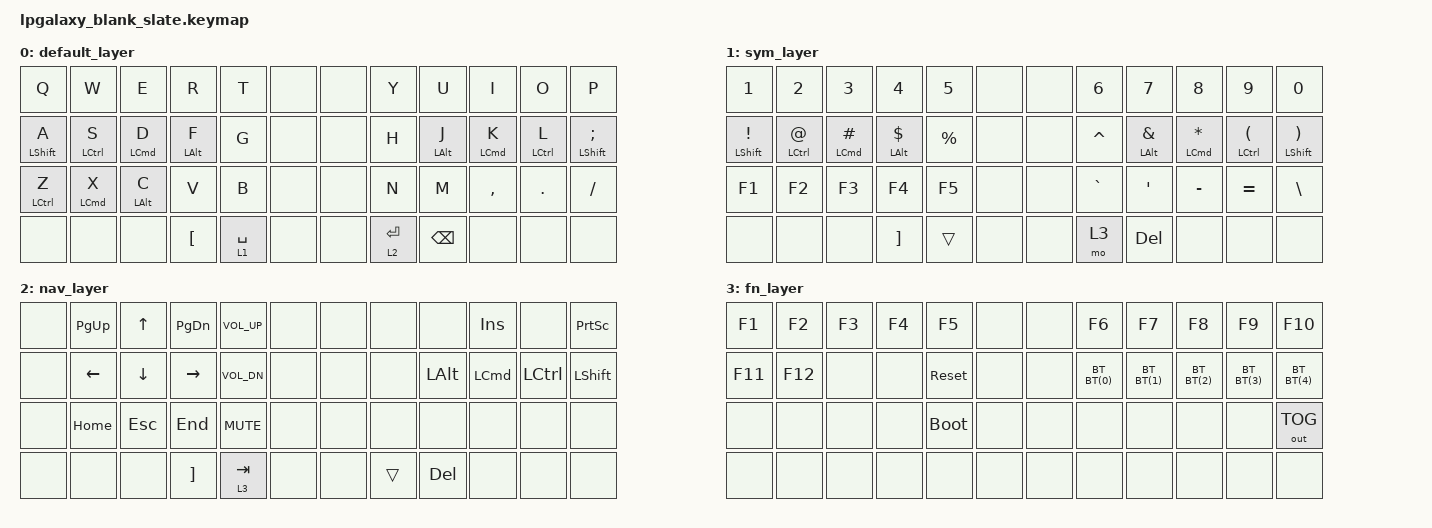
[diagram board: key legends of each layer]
#include <behaviors.dtsi>
#include <dt-bindings/zmk/keys.h>
#include <dt-bindings/zmk/bt.h>
#include <dt-bindings/zmk/outputs.h>

&mt {
    flavor = "balanced";
    tapping-term-ms = <200>;
};

&lt {
    flavor = "balanced";
    tapping-term-ms = <200>;
};

#define BT(n) BT_SEL n

/ {
    chosen {
       zmk,physical-layout = &layout_ortho_4x12_all1u;
    };

    keymap {
        compatible = "zmk,keymap";

        default_layer {
            bindings = <
                      &kp Q          &kp W        &kp E         &kp R         &kp T       &none &none  &kp Y        &kp U         &kp I         &kp O          &kp P   
                      &mt LSHFT A    &mt LCTRL S  &mt LCMD D    &mt LALT F    &kp G       &none &none  &kp H        &mt LALT J    &mt LCMD K    &mt LCTRL L    &mt LSHFT SEMI
                      &mt LCTRL Z    &mt LCMD X   &mt LALT C    &kp V         &kp B       &none &none  &kp N        &kp M         &kp COMMA     &kp DOT        &kp FSLH
                      &none          &none        &none         &kp LBKT      &lt 1 SPACE &none &none  &lt 2 ENTER  &kp BSPC      &none         &none          &none
            >;
        };

        sym_layer {
            bindings = <
                      &kp N1         &kp N2       &kp N3        &kp N4        &kp N5      &none &none  &kp N6       &kp N7        &kp N8        &kp N9         &kp N0   
                      &mt LSHFT EXCL &mt LCTRL AT &mt LCMD HASH &mt LALT DLLR &kp PRCNT   &none &none  &kp CARET    &mt LALT AMPS &mt LCMD STAR &mt LCTRL LPAR &mt LSHFT RPAR
                      &kp F1         &kp F2       &kp F3        &kp F4        &kp F5      &none &none  &kp GRAVE    &kp APOS      &kp MINUS     &kp EQUAL      &kp BSLH
                      &none          &none        &none         &kp RBKT      &trans      &none &none  &mo 3        &kp DEL       &none         &none          &none
            >;
        };

        nav_layer {
            bindings = <
                      &none          &kp PG_UP    &kp UP        &kp PG_DN     &kp C_VOL_UP &none &none &none        &none         &kp INS       &none          &kp PSCRN
                      &none          &kp LEFT     &kp DOWN      &kp RIGHT     &kp C_VOL_DN &none &none &none        &kp LALT      &kp LCMD      &kp LCTRL      &kp LSHFT
                      &none          &kp HOME     &kp ESC       &kp END       &kp C_MUTE   &none &none &none        &none         &none         &none          &none
                      &none          &none        &none         &kp RBKT      &lt 3 TAB    &none &none &trans       &kp DEL       &none         &none          &none
            >;
        };

        fn_layer {
            bindings = <
                      &kp F1         &kp F2       &kp F3        &kp F4        &kp F5       &none &none &kp F6       &kp F7        &kp F8        &kp F9         &kp F10
                      &kp F11        &kp F12      &none         &none         &sys_reset   &none &none &bt BT(0)    &bt BT(1)     &bt BT(2)     &bt BT(3)      &bt BT(4)
                      &none          &none        &none         &none         &bootloader  &none &none &none        &none         &none         &none          &out OUT_TOG
                      &none          &none        &none         &none         &none        &none &none &none        &none         &none         &none          &none
            >;
        };

    };
};

